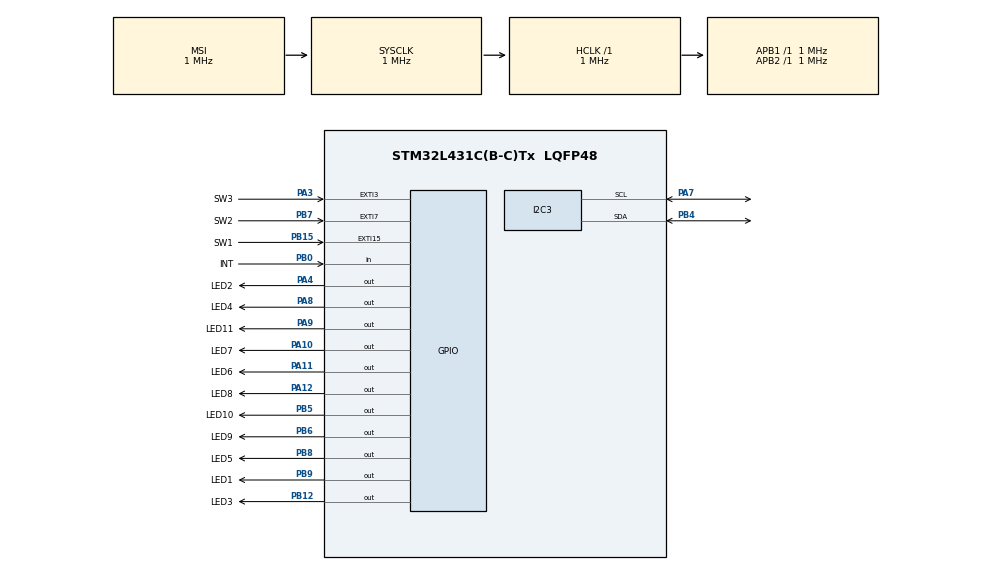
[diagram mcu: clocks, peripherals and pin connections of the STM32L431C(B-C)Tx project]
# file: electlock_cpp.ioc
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I2C3.Timing=0x00000103
Mcu.Family=STM32L4
Mcu.Name=STM32L431C(B-C)Tx
Mcu.Package=LQFP48
NVIC.EXTI15_10_IRQn=true\:0\:0\:false\:false\:true\:true\:true\:true
NVIC.EXTI3_IRQn=true\:0\:0\:false\:false\:true\:true\:true\:true
NVIC.EXTI9_5_IRQn=true\:0\:0\:false\:false\:true\:true\:true\:true
NVIC.PriorityGroup=NVIC_PRIORITYGROUP_4
NVIC.TIM6_DAC_IRQn=true\:0\:0\:false\:false\:true\:true\:true\:true
PA10.GPIO_Label=LED7
PA10.Signal=GPIO_Output
PA11.GPIO_Label=LED6
PA11.Signal=GPIO_Output
PA12.GPIO_Label=LED8
PA12.Signal=GPIO_Output
PA13\ (JTMS-SWDIO).Mode=Trace_Asynchronous_SW
PA13\ (JTMS-SWDIO).Signal=SYS_JTMS-SWDIO
PA14\ (JTCK-SWCLK).Mode=Trace_Asynchronous_SW
PA14\ (JTCK-SWCLK).Signal=SYS_JTCK-SWCLK
PA3.GPIO_Label=SW3
PA3.GPIO_ModeDefaultEXTI=GPIO_MODE_IT_FALLING
PA3.Signal=GPXTI3
PA4.GPIO_Label=LED2
PA4.Signal=GPIO_Output
PA7.Mode=I2C
PA7.Signal=I2C3_SCL
PA8.GPIO_Label=LED4
PA8.Signal=GPIO_Output
PA9.GPIO_Label=LED11
PA9.Signal=GPIO_Output
PB0.GPIO_Label=INT
PB0.Signal=GPIO_Input
PB12.GPIO_Label=LED3
PB12.Signal=GPIO_Output
PB15.GPIO_Label=SW1
PB15.GPIO_ModeDefaultEXTI=GPIO_MODE_IT_FALLING
PB15.Signal=GPXTI15
PB3\ (JTDO-TRACESWO).Mode=Trace_Asynchronous_SW
PB3\ (JTDO-TRACESWO).Signal=SYS_JTDO-SWO
PB4\ (NJTRST).Mode=I2C
PB4\ (NJTRST).Signal=I2C3_SDA
PB5.GPIO_Label=LED10
PB5.Signal=GPIO_Output
PB6.GPIO_Label=LED9
PB6.Signal=GPIO_Output
PB7.GPIO_Label=SW2
PB7.GPIO_ModeDefaultEXTI=GPIO_MODE_IT_FALLING
PB7.Signal=GPXTI7
PB8.GPIO_Label=LED5
PB8.Signal=GPIO_Output
PB9.GPIO_Label=LED1
PB9.Signal=GPIO_Output
PC14-OSC32_IN\ (PC14).Mode=LSE-External-Oscillator
PC14-OSC32_IN\ (PC14).Signal=RCC_OSC32_IN
PC15-OSC32_OUT\ (PC15).Mode=LSE-External-Oscillator
PC15-OSC32_OUT\ (PC15).Signal=RCC_OSC32_OUT
ProjectManager.HeapSize=0x200
ProjectManager.StackSize=0x400
ProjectManager.TargetToolchain=STM32CubeIDE
RCC.ADCFreq_Value=4000000
RCC.AHBFreq_Value=1000000
RCC.APB1Freq_Value=1000000
RCC.APB1TimFreq_Value=1000000
RCC.APB2Freq_Value=1000000
RCC.APB2TimFreq_Value=1000000
RCC.CortexFreq_Value=1000000
RCC.HCLKFreq_Value=1000000
RCC.HSE_VALUE=8000000
RCC.HSI48_VALUE=48000000
RCC.HSI_VALUE=16000000
RCC.LSE_Drive_CapabilityArg=+LSE_Drive_Capability
RCC.MSIAutoCalibration=DISABLED
RCC.MSIClockRange=RCC_MSIRANGE_4
RCC.MSI_VALUE=1000000
RCC.RTCClockSelection=RCC_RTCCLKSOURCE_LSE
RCC.SYSCLKFreq_VALUE=1000000
RCC.VCOOutputFreq_Value=8000000
TIM6.Period=1023
TIM6.Prescaler=7
TIM6.TIM_MasterOutputTrigger=TIM_TRGO_RESET
VP_RTC_VS_RTC_Activate.Mode=RTC_Enabled
VP_SYS_V_PVD_IN.Mode=Mode_PVD_Int
VP_TIM6_VS_ClockSourceINT.Mode=Enable_Timer
board=custom

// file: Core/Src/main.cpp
/* USER CODE BEGIN Header */
/**
 ******************************************************************************
 * @file           : main.c
 * @brief          : Main program body
 ******************************************************************************
 * @attention
 *
 * Copyright (c) 2024 STMicroelectronics.
 * All rights reserved.
 *
 * This software is licensed under terms that can be found in the LICENSE file
 * in the root directory of this software component.
 * If no LICENSE file comes with this software, it is provided AS-IS.
 *
 ******************************************************************************
 */
/* USER CODE END Header */
#include "main.h"

/* USER CODE BEGIN Includes */

#include <stdio.h>

#include <memory>

#include "lit.hpp"

#include "InputPin.hpp"

#include "AppArg.hpp"
#include "Application.hpp"
#include "SimpleClock.hpp"
#include "AdjustClock.hpp"

/* USER CODE END Includes */

I2C_HandleTypeDef hi2c3;

RTC_HandleTypeDef hrtc;

TIM_HandleTypeDef htim6;

/* USER CODE BEGIN PV */

// stm32l4xx_it.cで使用する変数を定義
uint32_t start_ms = 0;

std::unique_ptr<AppArg> apparg;

/* USER CODE END PV */

void SystemClock_Config(void);
static void MX_GPIO_Init(void);
static void MX_RTC_Init(void);
static void MX_I2C3_Init(void);
static void MX_TIM6_Init(void);

/* USER CODE BEGIN 0 */

int _write(int file, char *ptr, int len)
{
  int DataIdx;
  for (DataIdx = 0; DataIdx < len; DataIdx++)
  {
    ITM_SendChar(*ptr++);
  }
  return len;
}

void Set_RTC_Time(uint8_t hours, uint8_t minutes, uint8_t seconds)
{
  RTC_TimeTypeDef sTime = {0};

  sTime.Hours = hours;
  sTime.Minutes = minutes;
  sTime.Seconds = seconds;
  sTime.DayLightSaving = RTC_DAYLIGHTSAVING_NONE;
  sTime.StoreOperation = RTC_STOREOPERATION_RESET;

  if (HAL_RTC_SetTime(&hrtc, &sTime, RTC_FORMAT_BIN) != HAL_OK)
  {
    // エラーハンドリング
    Error_Handler();
  }
}

void EnterStop2Mode(void)
{
  // TIM6割り込みを無効にする
  HAL_TIM_Base_Stop_IT(&htim6);

  unlit();
  HAL_PWREx_EnterSTOP2Mode(PWR_STOPENTRY_WFI);
}

void HAL_TIM_PeriodElapsedCallback(TIM_HandleTypeDef *htim)
{
  static uint8_t phaze = 0;

  if (htim == &htim6)
  {
    if (++phaze >= 3)
      phaze = 0;

    switch (phaze)
    {
    case 0:
      litLED(60 + hour);
      break;
    case 1:
      litLED(minute);
      break;
    case 2:
      litLED(second);
      break;
    }
  }
}
/* USER CODE END 0 */

int main(void)
{

  /* MCU Configuration--------------------------------------------------------*/

  /* Reset of all peripherals, Initializes the Flash interface and the Systick. */
  HAL_Init();

  /* Configure the system clock */
  SystemClock_Config();

  /* Initialize all configured peripherals */
  MX_GPIO_Init();
  MX_RTC_Init();
  MX_I2C3_Init();
  MX_TIM6_Init();

  /* Infinite loop */
  /* USER CODE BEGIN WHILE */

  apparg = std::make_unique<AppArg>();
  apparg->sw1 = std::make_unique<InputPin>(SW1_GPIO_Port, SW1_Pin, INPUTPIN_NEGATIVE_LOGIC);
  apparg->sw2 = std::make_unique<InputPin>(SW2_GPIO_Port, SW2_Pin, INPUTPIN_NEGATIVE_LOGIC);
  apparg->sw3 = std::make_unique<InputPin>(SW3_GPIO_Port, SW3_Pin, INPUTPIN_NEGATIVE_LOGIC);

  apparg->hrtc = std::make_unique<RTC_HandleTypeDef>(hrtc);

  HAL_TIM_Base_Start_IT(&htim6);

  start_ms = HAL_GetTick();

  std::unique_ptr<Application> app;
  app.reset(new SimpleClock(apparg.get()));

  RTC_TimeTypeDef gTime;
  RTC_DateTypeDef gDate;

  uint8_t mode = 0;

  while (1)
  {
    /* USER CODE END WHILE */

    /* USER CODE BEGIN 3 */

    apparg->sw1->fetch();
    apparg->sw2->fetch();
    apparg->sw3->fetch();
    apparg->sw1->update();
    apparg->sw2->update();
    apparg->sw3->update();

    if (apparg->sw1->getFirstHold())
    {
      mode++;
      if (mode > 1)
        mode = 0;

      switch (mode){
        case 0:
          app.reset(new SimpleClock(apparg.get()));
          break;
        case 1:
          app.reset(new AdjustClock(apparg.get()));
          break;
      }
    }

    app->run(apparg.get());

    // 5秒経ったらSTOP2モードに入?��?
    if ((HAL_GetTick() - start_ms) > 10000)
    {
      EnterStop2Mode();
    }
    printf("hello!");
    HAL_Delay(1);
  }
  /* USER CODE END 3 */
}

void SystemClock_Config(void)
{
  RCC_OscInitTypeDef RCC_OscInitStruct = {0};
  RCC_ClkInitTypeDef RCC_ClkInitStruct = {0};

  /** Configure the main internal regulator output voltage
   */
  if (HAL_PWREx_ControlVoltageScaling(PWR_REGULATOR_VOLTAGE_SCALE1) != HAL_OK)
  {
    Error_Handler();
  }

  /** Configure LSE Drive Capability
   */
  HAL_PWR_EnableBkUpAccess();
  __HAL_RCC_LSEDRIVE_CONFIG(RCC_LSEDRIVE_LOW);

  /** Initializes the RCC Oscillators according to the specified parameters
   * in the RCC_OscInitTypeDef structure.
   */
  RCC_OscInitStruct.OscillatorType = RCC_OSCILLATORTYPE_LSE | RCC_OSCILLATORTYPE_MSI;
  RCC_OscInitStruct.LSEState = RCC_LSE_ON;
  RCC_OscInitStruct.MSIState = RCC_MSI_ON;
  RCC_OscInitStruct.MSICalibrationValue = 0;
  RCC_OscInitStruct.MSIClockRange = RCC_MSIRANGE_4;
  RCC_OscInitStruct.PLL.PLLState = RCC_PLL_NONE;
  if (HAL_RCC_OscConfig(&RCC_OscInitStruct) != HAL_OK)
  {
    Error_Handler();
  }

  /** Initializes the CPU, AHB and APB buses clocks
   */
  RCC_ClkInitStruct.ClockType = RCC_CLOCKTYPE_HCLK | RCC_CLOCKTYPE_SYSCLK | RCC_CLOCKTYPE_PCLK1 | RCC_CLOCKTYPE_PCLK2;
  RCC_ClkInitStruct.SYSCLKSource = RCC_SYSCLKSOURCE_MSI;
  RCC_ClkInitStruct.AHBCLKDivider = RCC_SYSCLK_DIV1;
  RCC_ClkInitStruct.APB1CLKDivider = RCC_HCLK_DIV1;
  RCC_ClkInitStruct.APB2CLKDivider = RCC_HCLK_DIV1;

  if (HAL_RCC_ClockConfig(&RCC_ClkInitStruct, FLASH_LATENCY_0) != HAL_OK)
  {
    Error_Handler();
  }
}

static void MX_I2C3_Init(void)
{

  hi2c3.Instance = I2C3;
  hi2c3.Init.Timing = 0x00000103;
  hi2c3.Init.OwnAddress1 = 0;
  hi2c3.Init.AddressingMode = I2C_ADDRESSINGMODE_7BIT;
  hi2c3.Init.DualAddressMode = I2C_DUALADDRESS_DISABLE;
  hi2c3.Init.OwnAddress2 = 0;
  hi2c3.Init.OwnAddress2Masks = I2C_OA2_NOMASK;
  hi2c3.Init.GeneralCallMode = I2C_GENERALCALL_DISABLE;
  hi2c3.Init.NoStretchMode = I2C_NOSTRETCH_DISABLE;
  if (HAL_I2C_Init(&hi2c3) != HAL_OK)
  {
    Error_Handler();
  }

  /** Configure Analogue filter
   */
  if (HAL_I2CEx_ConfigAnalogFilter(&hi2c3, I2C_ANALOGFILTER_ENABLE) != HAL_OK)
  {
    Error_Handler();
  }

  /** Configure Digital filter
   */
  if (HAL_I2CEx_ConfigDigitalFilter(&hi2c3, 0) != HAL_OK)
  {
    Error_Handler();
  }
}

static void MX_RTC_Init(void)
{

  /** Initialize RTC Only
   */
  hrtc.Instance = RTC;
  hrtc.Init.HourFormat = RTC_HOURFORMAT_24;
  hrtc.Init.AsynchPrediv = 127;
  hrtc.Init.SynchPrediv = 255;
  hrtc.Init.OutPut = RTC_OUTPUT_DISABLE;
  hrtc.Init.OutPutRemap = RTC_OUTPUT_REMAP_NONE;
  hrtc.Init.OutPutPolarity = RTC_OUTPUT_POLARITY_HIGH;
  hrtc.Init.OutPutType = RTC_OUTPUT_TYPE_OPENDRAIN;
  if (HAL_RTC_Init(&hrtc) != HAL_OK)
  {
    Error_Handler();
  }
}

static void MX_TIM6_Init(void)
{

  TIM_MasterConfigTypeDef sMasterConfig = {0};

  htim6.Instance = TIM6;
  htim6.Init.Prescaler = 7;
  htim6.Init.CounterMode = TIM_COUNTERMODE_UP;
  htim6.Init.Period = 1023;
  htim6.Init.AutoReloadPreload = TIM_AUTORELOAD_PRELOAD_DISABLE;
  if (HAL_TIM_Base_Init(&htim6) != HAL_OK)
  {
    Error_Handler();
  }
  sMasterConfig.MasterOutputTrigger = TIM_TRGO_RESET;
  sMasterConfig.MasterSlaveMode = TIM_MASTERSLAVEMODE_DISABLE;
  if (HAL_TIMEx_MasterConfigSynchronization(&htim6, &sMasterConfig) != HAL_OK)
  {
    Error_Handler();
  }
}

static void MX_GPIO_Init(void)
{
  GPIO_InitTypeDef GPIO_InitStruct = {0};

  /* GPIO Ports Clock Enable */
  __HAL_RCC_GPIOC_CLK_ENABLE();
  __HAL_RCC_GPIOA_CLK_ENABLE();
  __HAL_RCC_GPIOB_CLK_ENABLE();

  /*Configure GPIO pin Output Level */
  HAL_GPIO_WritePin(GPIOA, LED2_Pin | LED4_Pin | LED11_Pin | LED7_Pin | LED6_Pin | LED8_Pin, GPIO_PIN_RESET);

  /*Configure GPIO pin Output Level */
  HAL_GPIO_WritePin(GPIOB, LED3_Pin | LED10_Pin | LED9_Pin | LED5_Pin | LED1_Pin, GPIO_PIN_RESET);

  /*Configure GPIO pin : SW3_Pin */
  GPIO_InitStruct.Pin = SW3_Pin;
  GPIO_InitStruct.Mode = GPIO_MODE_IT_FALLING;
  GPIO_InitStruct.Pull = GPIO_NOPULL;
  HAL_GPIO_Init(SW3_GPIO_Port, &GPIO_InitStruct);

  /*Configure GPIO pins : LED2_Pin LED4_Pin LED11_Pin LED7_Pin
                           LED6_Pin LED8_Pin */
  GPIO_InitStruct.Pin = LED2_Pin | LED4_Pin | LED11_Pin | LED7_Pin | LED6_Pin | LED8_Pin;
  GPIO_InitStruct.Mode = GPIO_MODE_OUTPUT_PP;
  GPIO_InitStruct.Pull = GPIO_NOPULL;
  GPIO_InitStruct.Speed = GPIO_SPEED_FREQ_LOW;
  HAL_GPIO_Init(GPIOA, &GPIO_InitStruct);

  /*Configure GPIO pin : INT_Pin */
  GPIO_InitStruct.Pin = INT_Pin;
  GPIO_InitStruct.Mode = GPIO_MODE_INPUT;
  GPIO_InitStruct.Pull = GPIO_NOPULL;
  HAL_GPIO_Init(INT_GPIO_Port, &GPIO_InitStruct);

  /*Configure GPIO pins : LED3_Pin LED10_Pin LED9_Pin LED5_Pin
                           LED1_Pin */
  GPIO_InitStruct.Pin = LED3_Pin | LED10_Pin | LED9_Pin | LED5_Pin | LED1_Pin;
  GPIO_InitStruct.Mode = GPIO_MODE_OUTPUT_PP;
  GPIO_InitStruct.Pull = GPIO_NOPULL;
  GPIO_InitStruct.Speed = GPIO_SPEED_FREQ_LOW;
  HAL_GPIO_Init(GPIOB, &GPIO_InitStruct);

  /*Configure GPIO pins : SW1_Pin SW2_Pin */
  GPIO_InitStruct.Pin = SW1_Pin | SW2_Pin;
  GPIO_InitStruct.Mode = GPIO_MODE_IT_FALLING;
  GPIO_InitStruct.Pull = GPIO_NOPULL;
  HAL_GPIO_Init(GPIOB, &GPIO_InitStruct);

  /* EXTI interrupt init*/
  HAL_NVIC_SetPriority(EXTI3_IRQn, 0, 0);
  HAL_NVIC_EnableIRQ(EXTI3_IRQn);

  HAL_NVIC_SetPriority(EXTI9_5_IRQn, 0, 0);
  HAL_NVIC_EnableIRQ(EXTI9_5_IRQn);

  HAL_NVIC_SetPriority(EXTI15_10_IRQn, 0, 0);
  HAL_NVIC_EnableIRQ(EXTI15_10_IRQn);

}

void Error_Handler(void)
{
  __disable_irq();
  while (1)
  {
  }
}
